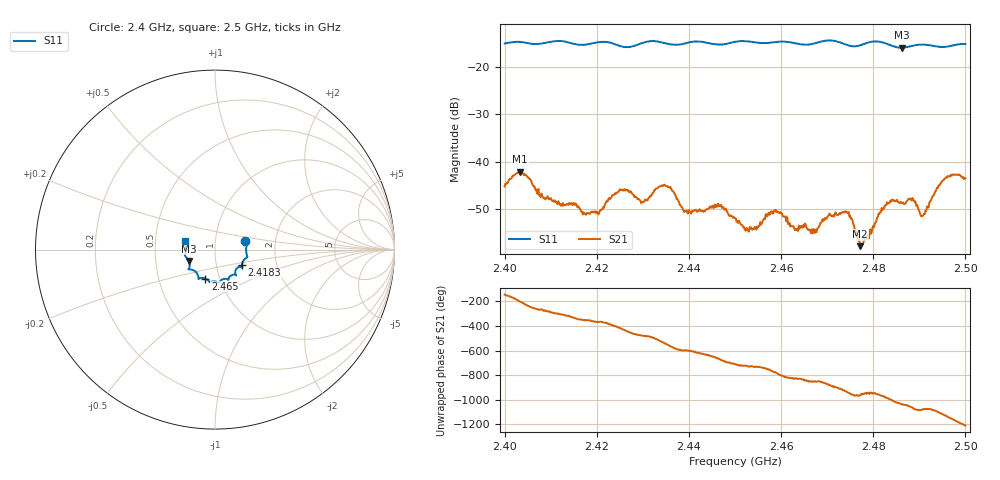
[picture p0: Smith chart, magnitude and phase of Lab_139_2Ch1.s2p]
# Hz S RI R 50
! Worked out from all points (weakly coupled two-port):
!   601 points, 2.4 GHz to 2.5 GHz, reference 50 ohm
!   highest |S21| = -42.12 dB at 2.4033 GHz (marker M1); lowest = -57.8 dB at 2.4772 GHz (marker M2)
!   lowest |S11| = -16.0 dB at 2.4862 GHz (marker M3), VSWR 1.37, Z = 37.1 - j4.83 ohm
!   |S11| at or under -10 dB: start of sweep to end of sweep
!   S12 and S22 are empty: the file has one direction only
!   S11 on the Smith chart (normalised r, x): 2.4 GHz: 1.40, +0.13; 2.4183 GHz: 1.33, -0.24; 2.465 GHz: 0.86, -0.29; 2.5 GHz: 0.71, +0.07
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2.4e9  0.1688 0.0458  -0.00441 -0.00326  0 0  0 0
2.403333e9  0.1796 0.0309  -0.00734 0.00275  0 0  0 0
2.408e9  0.174 -0.0154  -0.000485 0.00461  0 0  0 0
2.416667e9  0.1548 -0.0683  0.0029 0.00066  0 0  0 0
2.418333e9  0.1497 -0.0868  0.00282 0.000302  0 0  0 0
2.425e9  0.1341 -0.0966  0.00277 -0.00431  0 0  0 0
2.429833e9  0.1136 -0.1356  -0.00174 -0.00337  0 0  0 0
2.433333e9  0.1164 -0.1414  -0.00482 -0.00238  0 0  0 0
2.439333e9  0.0768 -0.159  -0.00165 0.00252  0 0  0 0
2.4465e9  0.0483 -0.1636  0.00195 0.00277  0 0  0 0
2.45e9  0.025 -0.1808  0.00251 0.000425  0 0  0 0
2.454167e9  0.013 -0.1804  0.00192 -0.000412  0 0  0 0
2.459e9  -0.0238 -0.1804  0.00141 -0.00258  0 0  0 0
2.465e9  -0.0529 -0.1621  -0.00113 -0.00173  0 0  0 0
2.466667e9  -0.0714 -0.1575  -0.00131 -0.00143  0 0  0 0
2.474167e9  -0.0963 -0.14  -0.00247 0.00161  0 0  0 0
2.477167e9  -0.1236 -0.1136  -0.000601 0.00114  0 0  0 0
2.483333e9  -0.142 -0.0958  1.21e-05 0.00368  0 0  0 0
2.486167e9  -0.1445 -0.0635  0.00258 0.0026  0 0  0 0
2.490667e9  -0.1673 -0.0344  0.00268 3.17e-05  0 0  0 0
2.495333e9  -0.1609 0.00874  0.00478 -0.00433  0 0  0 0
2.5e9  -0.1666 0.0471  -0.00419 -0.00523  0 0  0 0
